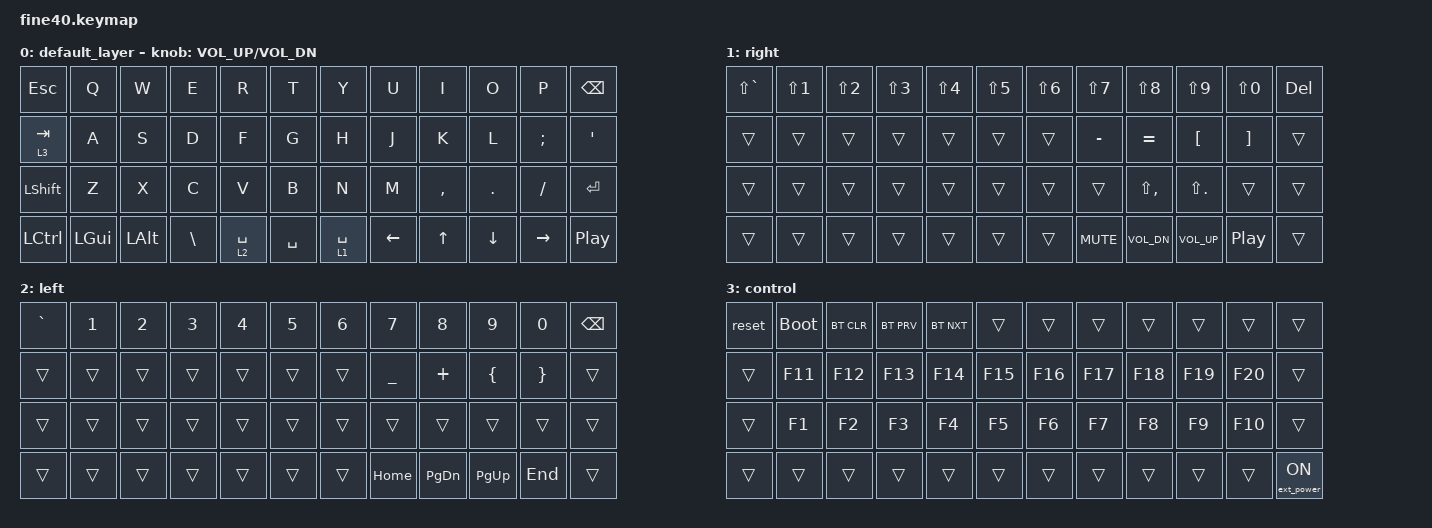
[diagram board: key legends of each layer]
/*
 * Aidan Smith (2021)
 *
 * SPDX-License-Identifier: MIT
 */

#include <behaviors.dtsi>
#include <dt-bindings/zmk/keys.h>
#include <dt-bindings/zmk/bt.h>
#include <dt-bindings/zmk/ext_power.h>

/ {
	keymap {
		compatible = "zmk,keymap";

		default_layer {
				// -----------------------------------------------------------------------------------------
				// |  ESC  |  Q   |  W   |  E   |  R   |  T   |   Y   |  U    |  I   |  O   |   P   | BSPC  |
				// |  TAB  |  A   |  S   |  D   |  F   |  G   |   H   |  J    |  K   |  L   |   ;   |  '    |
				// | SHIFT |  Z   |  X   |  C   |  V   |  B   |   N   |  M    |  ,   |  .   |   /   |  RET  |
				// | LCTL  | LGUI | LALT |  LWR   | SPC | SPC  |  RAIS | LARW | DARW | UARW  |  RARW |  P/P  |

				// -----------------------------------------------------------------------------------------
				// |  ESC  |  Q   |  W   |  E   |  R   |  T   |   B   |  V    |  C   |  X   |   Z   |  LSFT |
				// |   Y   |  U   |  I   |  O   |  P   | BSPC |  ENT  |  /    |  .   |  ,   |   M   |   N   |
				// |  TAB  |  A   |  S   |  D   |  F   |  G   |  SPC  |  LOWR |  \   | LALT | LGUI  |  LCTL |
				// |   H   |  J   |  K   |  L   | SCLN | QUTE |  P/P  | RARW | UARW | DARW  |  LARW | RAISE |


			bindings = <
				&kp ESC   &kp Q    &kp W    &kp E    &kp R &kp T     &kp Y &kp U    &kp I     &kp O    &kp P     &kp BSPC
				&lt 3 TAB &kp A    &kp S    &kp D    &kp F &kp G     &kp H &kp J    &kp K     &kp L    &kp SEMI  &kp SQT
				&kp LSHFT &kp Z    &kp X    &kp C    &kp V &kp B     &kp N &kp M    &kp COMMA &kp DOT  &kp FSLH  &kp RET
				/* &kp LCTL  &kp LGUI &kp LALT &kp BSLH &mo 2 &kp SPACE &mo 1 &kp LEFT &kp UP    &kp DOWN &kp RIGHT &kp C_PP */
                &kp LCTL  &kp LGUI &kp LALT &kp BSLH &lt 2 SPACE &kp SPACE &lt 1 SPACE &kp LEFT &kp UP &kp DOWN &kp RIGHT &kp C_PP
			>;

			sensor-bindings = <&inc_dec_kp C_VOL_UP C_VOL_DN>;
		};

		right {
			bindings = <
				&kp LS(GRAVE) &kp LS(N1) &kp LS(N2) &kp LS(N3) &kp LS(N4) &kp LS(N5) &kp LS(N6) &kp LS(N7) &kp LS(N8)    &kp LS(N9)   &kp LS(N0) &kp DEL
				&trans        &trans 	 &trans     &trans     &trans     &trans     &trans     &kp MINUS  &kp EQUAL     &kp LBKT     &kp RBKT   &trans
				&trans        &trans     &trans     &trans     &trans     &trans     &trans     &trans     &kp LS(COMMA) &kp LS(DOT)  &trans     &trans
				&trans        &trans     &trans     &trans     &trans     &trans     &trans     &kp C_MUTE &kp C_VOL_DN  &kp C_VOL_UP &kp C_PP   &trans
			>;
		};

		left {
			bindings = <
				&kp GRAVE &kp N1 &kp N2 &kp N3 &kp N4 &kp N5 &kp N6 &kp N7    &kp N8    &kp N9    &kp N0   &kp BSPC
				&trans    &trans &trans &trans &trans &trans &trans &kp UNDER &kp PLUS  &kp LBRC  &kp RBRC &trans
				&trans    &trans &trans &trans &trans &trans &trans &trans    &trans    &trans    &trans   &trans
				&trans    &trans &trans &trans &trans &trans &trans &kp HOME  &kp PG_DN &kp PG_UP &kp END  &trans
			>;
		};

		control {
			bindings = <
				&reset &bootloader &bt BT_CLR &bt BT_PRV &bt BT_NXT &trans  &trans  &trans  &trans  &trans  &trans  &trans
				&trans &kp F11 	   &kp F12    &kp F13    &kp F14    &kp F15 &kp F16 &kp F17 &kp F18 &kp F19 &kp F20 &trans
				&trans &kp F1      &kp F2     &kp F3     &kp F4     &kp F5  &kp F6  &kp F7  &kp F8  &kp F9  &kp F10 &trans
				&trans &trans      &trans     &trans     &trans     &trans  &trans  &trans  &trans  &trans  &trans  &ext_power EP_ON
			>;
		};
	};
};
